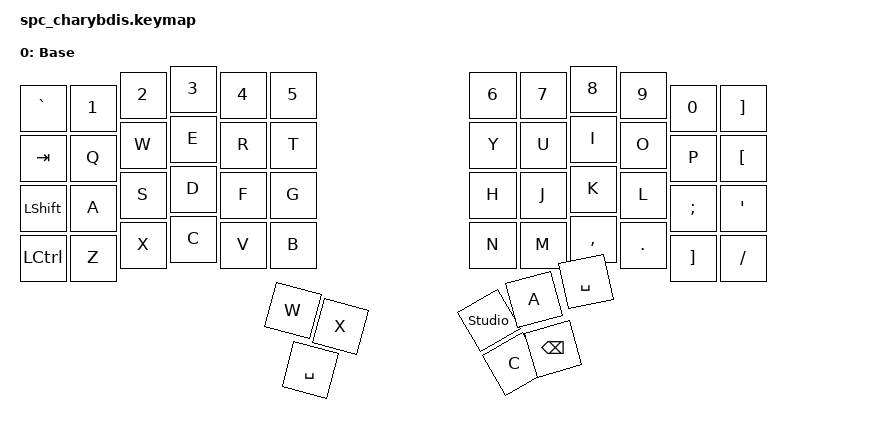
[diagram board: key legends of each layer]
#include <behaviors.dtsi>
#include <dt-bindings/zmk/keys.h>

/ {
    combos { compatible = "zmk,combos"; };

    keymap {
        compatible = "zmk,keymap";

        default_layer {
            display-name = "Base";
            bindings = <
&kp GRAVE       &kp NUMBER_1  &kp NUMBER_2  &kp NUMBER_3  &kp NUMBER_4  &kp NUMBER_5  &kp NUMBER_6    &kp N7         &kp NUMBER_8  &kp NUMBER_9  &kp NUMBER_0       &kp RIGHT_BRACKET
&kp TAB         &kp Q         &kp W         &kp E         &kp R         &kp T         &kp Y           &kp U          &kp I         &kp O         &kp P              &kp LEFT_BRACKET
&kp LEFT_SHIFT  &kp A         &kp S         &kp D         &kp F         &kp G         &kp H           &kp J          &kp K         &kp L         &kp SEMICOLON      &kp SINGLE_QUOTE
&kp LCTRL       &kp Z         &kp X         &kp C         &kp V         &kp B         &kp N           &kp M          &kp COMMA     &kp DOT       &kp RIGHT_BRACKET  &kp SLASH
                                                          &kp W         &kp X
                                                                        &kp SPACE     &studio_unlock  &kp A          &kp SPACE
                                                                                      &kp C           &kp BACKSPACE
            >;
        };
    };
};
